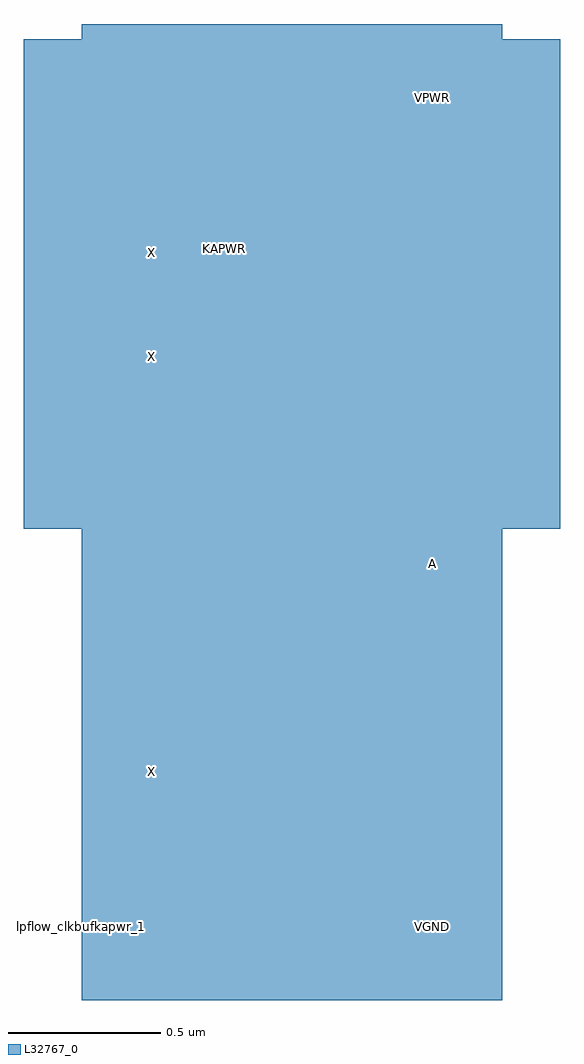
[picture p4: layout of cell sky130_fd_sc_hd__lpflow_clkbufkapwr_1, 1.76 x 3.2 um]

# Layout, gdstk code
import gdstk
lib = gdstk.Library(unit=1e-6, precision=1e-09)
def R(c, l, rs):  # rectangles x0, y0, x1, y1
    for r in rs: c.add(gdstk.rectangle(r[:2], r[2:], *l))
def A(c, l, x, y, w, h, nx, ny, dx, dy):  # array of equal rectangles
    R(c, l, [(x+i*dx, y+j*dy, x+i*dx+w, y+j*dy+h) for i in range(nx) for j in range(ny)])
def P(c, l, *ps):  # polygons
    for p in ps: c.add(gdstk.Polygon(p, *l))
L32767_0 = (32767, 0)

sky130_fd_sc_hd__lpflow_ = lib.new_cell('sky130_fd_sc_hd__lpflow_clkbufkapwr_1')
A(sky130_fd_sc_hd__lpflow_, L32767_0, 0.145, -0.085, 0.17, 0.17, 3, 2, 0.46, 2.72)
A(sky130_fd_sc_hd__lpflow_, L32767_0, 0.175, 2.215, 0.17, 0.17, 3, 1, 0.43, 0)
R(sky130_fd_sc_hd__lpflow_, L32767_0, [(0,-0.19,1.38,1.015), (1.065,-0.085,1.235,0.085), (1.065,-0.085,1.235,0.085), (0,0,1.38,2.72), (0,0,1.38,2.72), (0.135,0.235,1.245,0.755), (0.605,0.295,0.775,0.465), (1.035,0.36,1.205,0.53), (0.145,0.425,0.315,0.595), (0.175,0.445,0.345,0.615), (0,0.975,1.38,1.41), (0.945,0.985,1.275,1.355), (1.025,1.075,1.195,1.245), (1.065,1.105,1.235,1.275), (0.425,1.14,0.595,1.31), (0,1.25,1.38,2.72), (-0.19,1.305,1.57,2.91), (0,1.42,1.38,2.91), (0.135,1.695,1.245,2.485), (0.145,1.785,0.315,1.955), (0.175,1.81,0.345,1.98), (0.525,1.875,0.855,2.465), (0.605,1.875,0.775,2.045), (1.035,1.875,1.205,2.045), (0.145,2.125,0.315,2.295), (0.61,2.125,0.78,2.295), (0.39,2.155,0.545,2.29), (0,2.635,1.38,2.805), (1.065,2.635,1.235,2.805), (1.065,2.635,1.235,2.805)])
P(sky130_fd_sc_hd__lpflow_, L32767_0, [(0.085,2.465),(0.355,2.465),(0.355,1.56),(0.255,1.56),(0.255,0.76),(0.345,0.76),(0.345,0.255),(0.085,0.255)],
  [(0,0.085),(0.525,0.085),(0.525,0.465),(0.855,0.465),(0.855,0.085),(1.38,0.085),(1.38,-0.085),(0,-0.085)],
  [(0.425,1.39),(0.54,1.39),(0.54,1.705),(1.035,1.705),(1.035,2.465),(1.205,2.465),(1.205,1.535),(0.71,1.535),(0.71,0.805),(1.205,0.805),(1.205,0.255),(1.035,0.255),(1.035,0.635),(0.54,0.635),(0.54,1.06),(0.425,1.06)],
  [(0.375,1.39),(0.395,1.39),(0.395,2.615),(0.545,2.615),(0.545,1.39),(0.645,1.39),(0.645,1.06),(0.545,1.06),(0.545,0.105),(0.395,0.105),(0.395,1.06),(0.375,1.06)],
  [(1.245,1.325),(1.015,1.325),(1.015,1.62),(0.985,1.62),(0.985,2.615),(0.835,2.615),(0.835,1.5),(0.865,1.5),(0.865,0.95),(0.835,0.95),(0.835,0.105),(0.985,0.105),(0.985,0.83),(1.015,0.83),(1.015,0.995),(1.245,0.995)],
  [(1.31,2.34),(0.07,2.34),(0.07,2.14),(0.55,2.14),(0.55,2.08),(0.84,2.08),(0.84,2.14),(1.31,2.14)])
sky130_fd_sc_hd__lpflow_.add(gdstk.FlexPath([(1.38,0),(0,0)], 0.48, ends="flush", simple_path=True, layer=32767, datatype=0))  # L32767_0
sky130_fd_sc_hd__lpflow_.add(gdstk.FlexPath([(1.38,2.72),(0,2.72)], 0.48, ends="flush", simple_path=True, layer=32767, datatype=0))  # L32767_0
sky130_fd_sc_hd__lpflow_.add(gdstk.Label('KAPWR', (0.47,2.225), layer=32767, texttype=5))
sky130_fd_sc_hd__lpflow_.add(gdstk.Label('VGND', (1.15,0), layer=32767, texttype=5))
sky130_fd_sc_hd__lpflow_.add(gdstk.Label('VPWR', (1.15,2.72), layer=32767, texttype=5))
sky130_fd_sc_hd__lpflow_.add(gdstk.Label('X', (0.23,0.51), layer=32767, texttype=5))
sky130_fd_sc_hd__lpflow_.add(gdstk.Label('X', (0.23,1.87), layer=32767, texttype=5))
sky130_fd_sc_hd__lpflow_.add(gdstk.Label('X', (0.23,2.21), layer=32767, texttype=5))
sky130_fd_sc_hd__lpflow_.add(gdstk.Label('A', (1.15,1.19), layer=32767, texttype=5))
sky130_fd_sc_hd__lpflow_.add(gdstk.Label('VPB', (1.15,2.72), layer=32767, texttype=5))
sky130_fd_sc_hd__lpflow_.add(gdstk.Label('VNB', (1.15,0), layer=32767, texttype=59))
sky130_fd_sc_hd__lpflow_.add(gdstk.Label('lpflow_clkbufkapwr_1', (0,0), layer=32767, texttype=44))

lib.write_gds('sky130_fd_sc_hd__lpflow_clkbufkapwr_1.gds')
